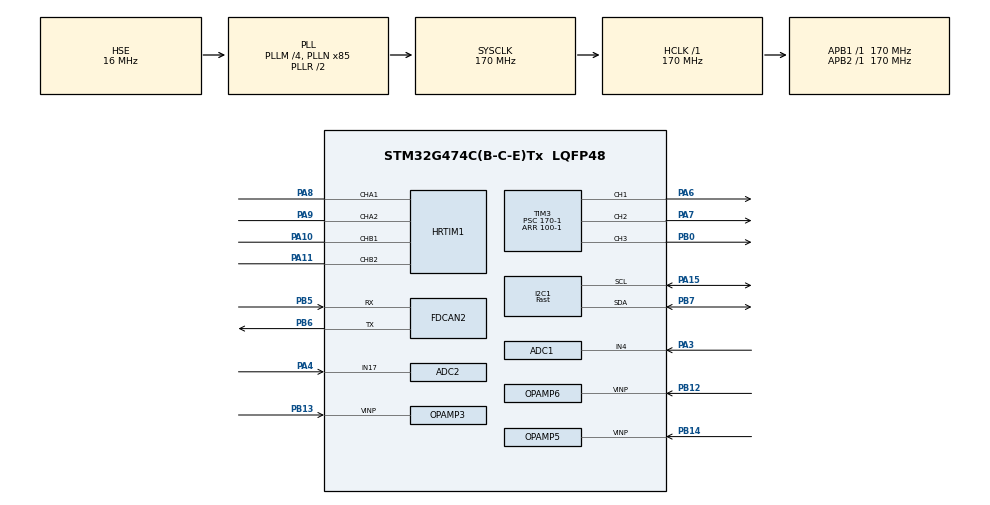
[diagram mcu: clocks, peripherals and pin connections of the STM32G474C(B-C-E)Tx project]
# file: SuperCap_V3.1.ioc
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ADC1.Channel-0\#ChannelRegularConversion=ADC_CHANNEL_4
ADC1.DMAContinuousRequests=ENABLE
ADC1.EOCSelection=ADC_EOC_SINGLE_CONV
ADC1.ExternalTrigConv=ADC_EXTERNALTRIG_HRTIM_TRG1
ADC1.LowPowerAutoWait=DISABLE
ADC1.NbrOfConversionFlag=1
ADC1.OffsetNumber-0\#ChannelRegularConversion=ADC_OFFSET_NONE
ADC1.OversamplingMode=ENABLE
ADC1.OversamplingStopReset=ADC_REGOVERSAMPLING_RESUMED_MODE
ADC1.Rank-0\#ChannelRegularConversion=1
ADC1.Ratio=ADC_OVERSAMPLING_RATIO_16
ADC1.RightBitShift=ADC_RIGHTBITSHIFT_4
ADC1.SamplingTime-0\#ChannelRegularConversion=ADC_SAMPLETIME_6CYCLES_5
ADC1.TriggeredMode=ADC_TRIGGEREDMODE_MULTI_TRIGGER
ADC1.master=1
ADC2.Channel-0\#ChannelRegularConversion=ADC_CHANNEL_17
ADC2.DMAContinuousRequests=ENABLE
ADC2.ExternalTrigConv=ADC_EXTERNALTRIG_HRTIM_TRG1
ADC2.NbrOfConversion=1
ADC2.NbrOfConversionFlag=1
ADC2.OffsetNumber-0\#ChannelRegularConversion=ADC_OFFSET_NONE
ADC2.OversamplingMode=ENABLE
ADC2.OversamplingStopReset=ADC_REGOVERSAMPLING_RESUMED_MODE
ADC2.Rank-0\#ChannelRegularConversion=1
ADC2.Ratio=ADC_OVERSAMPLING_RATIO_16
ADC2.RightBitShift=ADC_RIGHTBITSHIFT_4
ADC2.SamplingTime-0\#ChannelRegularConversion=ADC_SAMPLETIME_6CYCLES_5
ADC2.TriggeredMode=ADC_TRIGGEREDMODE_MULTI_TRIGGER
ADC3.Channel-1\#ChannelRegularConversion=ADC_CHANNEL_VOPAMP3_ADC3
ADC3.DMAContinuousRequests=ENABLE
ADC3.ExternalTrigConv=ADC_EXTERNALTRIG_HRTIM_TRG1
ADC3.NbrOfConversionFlag=1
ADC3.OffsetNumber-1\#ChannelRegularConversion=ADC_OFFSET_NONE
ADC3.OversamplingMode=ENABLE
ADC3.OversamplingStopReset=ADC_REGOVERSAMPLING_RESUMED_MODE
ADC3.Rank-1\#ChannelRegularConversion=1
ADC3.Ratio=ADC_OVERSAMPLING_RATIO_16
ADC3.RightBitShift=ADC_RIGHTBITSHIFT_4
ADC3.SamplingTime-1\#ChannelRegularConversion=ADC_SAMPLETIME_6CYCLES_5
ADC3.TriggeredMode=ADC_TRIGGEREDMODE_MULTI_TRIGGER
ADC3.master=1
ADC4.Channel-0\#ChannelRegularConversion=ADC_CHANNEL_VOPAMP6
ADC4.DMAContinuousRequests=ENABLE
ADC4.ExternalTrigConv=ADC_EXTERNALTRIG_HRTIM_TRG1
ADC4.NbrOfConversionFlag=1
ADC4.OffsetNumber-0\#ChannelRegularConversion=ADC_OFFSET_NONE
ADC4.OversamplingMode=ENABLE
ADC4.OversamplingStopReset=ADC_REGOVERSAMPLING_RESUMED_MODE
ADC4.Rank-0\#ChannelRegularConversion=1
ADC4.Ratio=ADC_OVERSAMPLING_RATIO_16
ADC4.RightBitShift=ADC_RIGHTBITSHIFT_4
ADC4.SamplingTime-0\#ChannelRegularConversion=ADC_SAMPLETIME_6CYCLES_5
ADC4.TriggeredMode=ADC_TRIGGEREDMODE_MULTI_TRIGGER
ADC5.Channel-0\#ChannelRegularConversion=ADC_CHANNEL_VOPAMP5
ADC5.DMAContinuousRequests=ENABLE
ADC5.ExternalTrigConv=ADC_EXTERNALTRIG_HRTIM_TRG1
ADC5.NbrOfConversionFlag=1
ADC5.OffsetNumber-0\#ChannelRegularConversion=ADC_OFFSET_NONE
ADC5.OversamplingMode=ENABLE
ADC5.OversamplingStopReset=ADC_REGOVERSAMPLING_RESUMED_MODE
ADC5.Rank-0\#ChannelRegularConversion=1
ADC5.Ratio=ADC_OVERSAMPLING_RATIO_16
ADC5.RightBitShift=ADC_RIGHTBITSHIFT_4
ADC5.SamplingTime-0\#ChannelRegularConversion=ADC_SAMPLETIME_6CYCLES_5
ADC5.TriggeredMode=ADC_TRIGGEREDMODE_MULTI_TRIGGER
Dma.ADC1.0.Direction=DMA_PERIPH_TO_MEMORY
Dma.ADC1.0.EventEnable=DISABLE
Dma.ADC1.0.Instance=DMA1_Channel1
Dma.ADC1.0.MemDataAlignment=DMA_MDATAALIGN_HALFWORD
Dma.ADC1.0.MemInc=DMA_MINC_ENABLE
Dma.ADC1.0.Mode=DMA_CIRCULAR
Dma.ADC1.0.PeriphDataAlignment=DMA_PDATAALIGN_HALFWORD
Dma.ADC1.0.PeriphInc=DMA_PINC_DISABLE
Dma.ADC1.0.Polarity=HAL_DMAMUX_REQ_GEN_RISING
Dma.ADC1.0.Priority=DMA_PRIORITY_HIGH
Dma.ADC1.0.RequestNumber=1
Dma.ADC1.0.SignalID=NONE
Dma.ADC1.0.SyncEnable=DISABLE
Dma.ADC1.0.SyncPolarity=HAL_DMAMUX_SYNC_NO_EVENT
Dma.ADC1.0.SyncRequestNumber=1
Dma.ADC1.0.SyncSignalID=NONE
Dma.ADC2.1.Direction=DMA_PERIPH_TO_MEMORY
Dma.ADC2.1.EventEnable=DISABLE
Dma.ADC2.1.Instance=DMA1_Channel2
Dma.ADC2.1.MemDataAlignment=DMA_MDATAALIGN_HALFWORD
Dma.ADC2.1.MemInc=DMA_MINC_ENABLE
Dma.ADC2.1.Mode=DMA_CIRCULAR
Dma.ADC2.1.PeriphDataAlignment=DMA_PDATAALIGN_HALFWORD
Dma.ADC2.1.PeriphInc=DMA_PINC_DISABLE
Dma.ADC2.1.Polarity=HAL_DMAMUX_REQ_GEN_RISING
Dma.ADC2.1.Priority=DMA_PRIORITY_HIGH
Dma.ADC2.1.RequestNumber=1
Dma.ADC2.1.SignalID=NONE
Dma.ADC2.1.SyncEnable=DISABLE
Dma.ADC2.1.SyncPolarity=HAL_DMAMUX_SYNC_NO_EVENT
Dma.ADC2.1.SyncRequestNumber=1
Dma.ADC2.1.SyncSignalID=NONE
Dma.ADC3.2.Direction=DMA_PERIPH_TO_MEMORY
Dma.ADC3.2.EventEnable=DISABLE
Dma.ADC3.2.Instance=DMA1_Channel3
Dma.ADC3.2.MemDataAlignment=DMA_MDATAALIGN_HALFWORD
Dma.ADC3.2.MemInc=DMA_MINC_ENABLE
Dma.ADC3.2.Mode=DMA_CIRCULAR
Dma.ADC3.2.PeriphDataAlignment=DMA_PDATAALIGN_HALFWORD
Dma.ADC3.2.PeriphInc=DMA_PINC_DISABLE
Dma.ADC3.2.Polarity=HAL_DMAMUX_REQ_GEN_RISING
Dma.ADC3.2.Priority=DMA_PRIORITY_HIGH
Dma.ADC3.2.RequestNumber=1
Dma.ADC3.2.SignalID=NONE
Dma.ADC3.2.SyncEnable=DISABLE
Dma.ADC3.2.SyncPolarity=HAL_DMAMUX_SYNC_NO_EVENT
Dma.ADC3.2.SyncRequestNumber=1
Dma.ADC3.2.SyncSignalID=NONE
Dma.ADC4.3.Direction=DMA_PERIPH_TO_MEMORY
Dma.ADC4.3.EventEnable=DISABLE
Dma.ADC4.3.Instance=DMA1_Channel4
Dma.ADC4.3.MemDataAlignment=DMA_MDATAALIGN_HALFWORD
Dma.ADC4.3.MemInc=DMA_MINC_ENABLE
Dma.ADC4.3.Mode=DMA_CIRCULAR
Dma.ADC4.3.PeriphDataAlignment=DMA_PDATAALIGN_HALFWORD
Dma.ADC4.3.PeriphInc=DMA_PINC_DISABLE
Dma.ADC4.3.Polarity=HAL_DMAMUX_REQ_GEN_RISING
Dma.ADC4.3.Priority=DMA_PRIORITY_HIGH
Dma.ADC4.3.RequestNumber=1
Dma.ADC4.3.SignalID=NONE
Dma.ADC4.3.SyncEnable=DISABLE
Dma.ADC4.3.SyncPolarity=HAL_DMAMUX_SYNC_NO_EVENT
Dma.ADC4.3.SyncRequestNumber=1
Dma.ADC4.3.SyncSignalID=NONE
Dma.ADC5.4.Direction=DMA_PERIPH_TO_MEMORY
Dma.ADC5.4.EventEnable=DISABLE
Dma.ADC5.4.Instance=DMA1_Channel5
Dma.ADC5.4.MemDataAlignment=DMA_MDATAALIGN_HALFWORD
Dma.ADC5.4.MemInc=DMA_MINC_ENABLE
Dma.ADC5.4.Mode=DMA_CIRCULAR
Dma.ADC5.4.PeriphDataAlignment=DMA_PDATAALIGN_HALFWORD
Dma.ADC5.4.PeriphInc=DMA_PINC_DISABLE
Dma.ADC5.4.Polarity=HAL_DMAMUX_REQ_GEN_RISING
Dma.ADC5.4.Priority=DMA_PRIORITY_HIGH
Dma.ADC5.4.RequestNumber=1
Dma.ADC5.4.SignalID=NONE
Dma.ADC5.4.SyncEnable=DISABLE
Dma.ADC5.4.SyncPolarity=HAL_DMAMUX_SYNC_NO_EVENT
Dma.ADC5.4.SyncRequestNumber=1
Dma.ADC5.4.SyncSignalID=NONE
Dma.Request0=ADC1
Dma.Request1=ADC2
Dma.Request2=ADC3
Dma.Request3=ADC4
Dma.Request4=ADC5
FDCAN2.AutoRetransmission=ENABLE
FDCAN2.CalculateBaudRateNominal=1000000
FDCAN2.CalculateTimeBitNominal=1000
FDCAN2.CalculateTimeQuantumNominal=100.0
FDCAN2.DataPrescaler=17
FDCAN2.DataSyncJumpWidth=4
FDCAN2.DataTimeSeg1=5
FDCAN2.DataTimeSeg2=4
FDCAN2.ExtFiltersNbr=8
FDCAN2.NominalPrescaler=17
FDCAN2.NominalSyncJumpWidth=4
FDCAN2.NominalTimeSeg1=5
FDCAN2.NominalTimeSeg2=4
FDCAN2.StdFiltersNbr=28
FDCAN2.TransmitPause=ENABLE
HRTIM1.ADCTrigger1_Source1=HRTIM_ADCTRIGGEREVENT13_MASTER_CMP1
HRTIM1.ADCTrigger_Id1=HRTIM_ADCTRIGGER_1
HRTIM1.CaptureUnit1-Output_TA1TA2=__NULL
HRTIM1.CompareUnit1-MasterTimer=HRTIM_COMPAREUNIT_1
HRTIM1.CompareUnit1-Output_TA1TA2=HRTIM_COMPAREUNIT_1
HRTIM1.CompareUnit1-Output_TB1TB2=HRTIM_COMPAREUNIT_1
HRTIM1.CompareUnit2-Output_TA1TA2=__NULL
HRTIM1.CompareUnit2-Output_TB1TB2=__NULL
HRTIM1.CompareUnit3-Output_TA1TA2=HRTIM_COMPAREUNIT_3
HRTIM1.CompareUnit3-Output_TB1TB2=HRTIM_COMPAREUNIT_3
HRTIM1.CompareUnit4-Output_TA1TA2=__NULL
HRTIM1.CompareValue1-MasterTimer=17000
HRTIM1.CompareValue1-Output_TA1TA2=17000
HRTIM1.CompareValue1-Output_TB1TB2=17000
HRTIM1.CompareValue3-Output_TA1TA2=17000
HRTIM1.CompareValue3-Output_TB1TB2=17000
HRTIM1.Configuration_TA=Waveform
HRTIM1.DeadTimeInsertion-Output_TA1TA2=HRTIM_TIMDEADTIMEINSERTION_ENABLED
HRTIM1.DeadTimeInsertion-Output_TB1TB2=HRTIM_TIMDEADTIMEINSERTION_ENABLED
HRTIM1.Event_EEV1=__NULL
HRTIM1.FallingValue-Output_TA1TA2=1
HRTIM1.FallingValue-Output_TB1TB2=1
HRTIM1.FaultLevel1-Output_TA1TA2=HRTIM_OUTPUTFAULTLEVEL_INACTIVE
HRTIM1.FaultLevel1-Output_TB1TB2=HRTIM_OUTPUTFAULTLEVEL_INACTIVE
HRTIM1.FaultLevel2-Output_TA1TA2=HRTIM_OUTPUTFAULTLEVEL_INACTIVE
HRTIM1.FaultLevel2-Output_TB1TB2=HRTIM_OUTPUTFAULTLEVEL_INACTIVE
HRTIM1.GreaterCMP1_TA=HRTIM_TIMERGTCMP1_EQUAL
HRTIM1.NumberADCTriggerSource1=1
HRTIM1.NumberFaultEnable-Output_TB1TB2=0
HRTIM1.NumberResetSource1-Output_TA1TA2=1
HRTIM1.NumberResetSource1-Output_TB1TB2=1
HRTIM1.NumberResetTrigger-Output_TA1TA2=1
HRTIM1.NumberResetTrigger-Output_TB1TB2=1
HRTIM1.NumberSetSource1-Output_TA1TA2=1
HRTIM1.NumberSetSource1-Output_TB1TB2=1
HRTIM1.NumberUpdateTrigger-Output_TA1TA2=0
HRTIM1.NumberUpdateTrigger-Output_TB1TB2=0
HRTIM1.ORingUpdateSource_ADCTrigger1=HRTIM_ADCTRIGGERUPDATE_MASTER
HRTIM1.Periode_MASTER=34000
HRTIM1.Periode_TA=34000
HRTIM1.Periode_TB=34000
HRTIM1.PreloadEnable-MasterTimer=HRTIM_PRELOAD_ENABLED
HRTIM1.PreloadEnable-Output_TA1TA2=HRTIM_PRELOAD_ENABLED
HRTIM1.PreloadEnable-Output_TB1TB2=HRTIM_PRELOAD_ENABLED
HRTIM1.ReSyncUpdate-Output_TA1TA2=HRTIM_TIMERESYNC_UPDATE_CONDITIONAL
HRTIM1.ReSyncUpdate-Output_TB1TB2=HRTIM_TIMERESYNC_UPDATE_CONDITIONAL
HRTIM1.RepetitionUpdate-MasterTimer=HRTIM_UPDATEONREPETITION_ENABLED
HRTIM1.RepetitionUpdate-Output_TA1TA2=HRTIM_UPDATEONREPETITION_ENABLED
HRTIM1.RepetitionUpdate-Output_TB1TB2=HRTIM_UPDATEONREPETITION_ENABLED
HRTIM1.ResetOutput1_Source1-Output_TA1TA2=HRTIM_OUTPUTRESET_TIMCMP3
HRTIM1.ResetOutput1_Source1-Output_TB1TB2=HRTIM_OUTPUTRESET_TIMCMP3
HRTIM1.ResetTrigger1-Output_TA1TA2=HRTIM_TIMRESETTRIGGER_MASTER_PER
HRTIM1.ResetTrigger1-Output_TB1TB2=HRTIM_TIMRESETTRIGGER_MASTER_PER
HRTIM1.ResetUpdate-Output_TA1TA2=HRTIM_TIMUPDATEONRESET_DISABLED
HRTIM1.ResetUpdate-Output_TB1TB2=HRTIM_TIMUPDATEONRESET_DISABLED
HRTIM1.RisingValue-Output_TA1TA2=1
HRTIM1.RisingValue-Output_TB1TB2=1
HRTIM1.SetOutput1_Source1-Output_TA1TA2=HRTIM_OUTPUTSET_TIMCMP1
HRTIM1.SetOutput1_Source1-Output_TB1TB2=HRTIM_OUTPUTSET_TIMCMP1
HRTIM1.StartOnSync-MasterTimer=HRTIM_SYNCSTART_ENABLED
HRTIM1.StartOnSync-Output_TA1TA2=HRTIM_SYNCSTART_ENABLED
HRTIM1.SyncInputSource=HRTIM_SYNCINPUTSOURCE_INTERNALEVENT
HRTIM1.SyncOptions=HRTIM_SYNCOPTION_SLAVE|HRTIM_SYNCOPTION_MASTER
HRTIM1.SyncOutputPolarity=HRTIM_SYNCOUTPUTPOLARITY_POSITIVE
HRTIM1.postscaler1=0
I2C1.I2C_Speed_Mode=I2C_Fast
I2C1.Timing=0x40621236
Mcu.Family=STM32G4
Mcu.Name=STM32G474C(B-C-E)Tx
Mcu.Package=LQFP48
NVIC.DMA1_Channel1_IRQn=true\:0\:0\:false\:false\:true\:false\:true\:true
NVIC.DMA1_Channel2_IRQn=true\:0\:0\:false\:false\:true\:false\:true\:true
NVIC.DMA1_Channel3_IRQn=true\:0\:0\:false\:false\:true\:false\:true\:true
NVIC.DMA1_Channel4_IRQn=true\:0\:0\:false\:false\:true\:false\:true\:true
NVIC.DMA1_Channel5_IRQn=true\:0\:0\:false\:false\:true\:false\:true\:true
NVIC.FDCAN2_IT0_IRQn=true\:2\:0\:true\:false\:true\:true\:true\:true
NVIC.PriorityGroup=NVIC_PRIORITYGROUP_3
NVIC.TIM1_UP_TIM16_IRQn=true\:0\:0\:false\:false\:true\:true\:true\:true
NVIC.TIM4_IRQn=true\:1\:1\:true\:false\:true\:true\:true\:true
NVIC.TIM6_DAC_IRQn=true\:7\:0\:true\:false\:true\:true\:true\:true
PA10.Mode=Output_TB1TB2
PA10.Signal=HRTIM1_CHB1
PA11.Mode=Output_TB1TB2
PA11.Signal=HRTIM1_CHB2
PA13.Mode=Serial_Wire
PA13.Signal=SYS_JTMS-SWDIO
PA14.Mode=Serial_Wire
PA14.Signal=SYS_JTCK-SWCLK
PA15.Mode=I2C
PA15.Signal=I2C1_SCL
PA3.Mode=IN4-Single-Ended
PA3.Signal=ADC1_IN4
PA4.Mode=IN17-Single-Ended
PA4.Signal=ADC2_IN17
PA6.Signal=S_TIM3_CH1
PA7.Signal=S_TIM3_CH2
PA8.Mode=Output_TA1TA2
PA8.Signal=HRTIM1_CHA1
PA9.Mode=Output_TA1TA2
PA9.Signal=HRTIM1_CHA2
PB0.Signal=S_TIM3_CH3
PB12.Mode=Follower_Internally_Connected
PB12.Signal=OPAMP6_VINP
PB13.Mode=Follower_Internally_Connected
PB13.Signal=OPAMP3_VINP
PB14.Mode=Follower_Internally_Connected
PB14.Signal=OPAMP5_VINP
PB5.Mode=FDCAN_Activate
PB5.Signal=FDCAN2_RX
PB6.Mode=FDCAN_Activate
PB6.Signal=FDCAN2_TX
PB7.Mode=I2C
PB7.Signal=I2C1_SDA
PF0-OSC_IN.Mode=HSE-External-Oscillator
PF0-OSC_IN.Signal=RCC_OSC_IN
PF1-OSC_OUT.Mode=HSE-External-Oscillator
PF1-OSC_OUT.Signal=RCC_OSC_OUT
ProjectManager.HeapSize=0x200
ProjectManager.StackSize=0x400
ProjectManager.TargetToolchain=MDK-ARM V5
RCC.ADC12Freq_Value=170000000
RCC.ADC345Freq_Value=170000000
RCC.AHBFreq_Value=170000000
RCC.APB1Freq_Value=170000000
RCC.APB1TimFreq_Value=170000000
RCC.APB2Freq_Value=170000000
RCC.APB2TimFreq_Value=170000000
RCC.CortexFreq_Value=170000000
RCC.EXTERNAL_CLOCK_VALUE=12288000
RCC.HCLKFreq_Value=170000000
RCC.HSE_VALUE=16000000
RCC.HSI48_VALUE=48000000
RCC.HSI_VALUE=16000000
RCC.LSE_VALUE=32768
RCC.PLLM=RCC_PLLM_DIV4
RCC.PLLN=85
RCC.PLLSourceVirtual=RCC_PLLSOURCE_HSE
RCC.SYSCLKFreq_VALUE=170000000
RCC.SYSCLKSource=RCC_SYSCLKSOURCE_PLLCLK
RCC.USBFreq_Value=170000000
RCC.VCOOutputFreq_Value=340000000
SH.S_TIM3_CH1.0=TIM3_CH1,PWM Generation1 CH1
SH.S_TIM3_CH2.0=TIM3_CH2,PWM Generation2 CH2
SH.S_TIM3_CH3.0=TIM3_CH3,PWM Generation3 CH3
TIM1.PeriodNoDither=100-1
TIM1.Prescaler=170-1
TIM1.TIM_MasterOutputTrigger=TIM_TRGO_ENABLE
TIM1.TIM_MasterSlaveMode=TIM_MASTERSLAVEMODE_DISABLE
TIM3.Channel-PWM\ Generation1\ CH1=TIM_CHANNEL_1
TIM3.Channel-PWM\ Generation2\ CH2=TIM_CHANNEL_2
TIM3.Channel-PWM\ Generation3\ CH3=TIM_CHANNEL_3
TIM3.PeriodNoDither=100-1
TIM3.Prescaler=170-1
TIM4.ClockDivision=TIM_CLOCKDIVISION_DIV1
TIM4.PeriodNoDither=1000-1
TIM4.Prescaler=170-1
TIM4.TIM_MasterSlaveMode=TIM_MASTERSLAVEMODE_DISABLE
TIM6.AutoReloadPreload=TIM_AUTORELOAD_PRELOAD_ENABLE
TIM6.PeriodNoDither=10000-1
TIM6.Prescaler=17000-1
VP_ADC3_OPAMP_INTERNAL3.Mode=IN-OPAMP3
VP_ADC4_OPAMP_INTERNAL6.Mode=IN-OPAMP6
VP_ADC5_OPAMP_INTERNAL5.Mode=IN-OPAMP5
VP_HRTIM1_VS_hrtimMasterTimerNoOutput.Mode=MasterTimer
VP_SYS_VS_DBSignals.Mode=DisableDeadBatterySignals
VP_TIM1_VS_ClockSourceINT.Mode=Internal
VP_TIM3_VS_ClockSourceINT.Mode=Internal
VP_TIM4_VS_ClockSourceINT.Mode=Internal
VP_TIM4_VS_ClockSourceITR.Mode=TriggerSource_ITR10
VP_TIM4_VS_ControllerModeTrigger.Mode=Trigger Mode
VP_TIM6_VS_ClockSourceINT.Mode=Enable_Timer
board=custom

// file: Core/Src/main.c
/* USER CODE BEGIN Header */
/**
  ******************************************************************************
  * @file           : main.c
  * @brief          : Main program body
  ******************************************************************************
  * @attention
  *
  * Copyright (c) 2024 STMicroelectronics.
  * All rights reserved.
  *
  * This software is licensed under terms that can be found in the LICENSE file
  * in the root directory of this software component.
  * If no LICENSE file comes with this software, it is provided AS-IS.
  *
  ******************************************************************************
  */
/* USER CODE END Header */
#include "main.h"
#include "adc.h"
#include "dma.h"
#include "fdcan.h"
#include "hrtim.h"
#include "i2c.h"
#include "opamp.h"
#include "tim.h"
#include "gpio.h"

/* USER CODE BEGIN Includes */
#include "bsp_dwt.h"
#include "power_calculation.h"
#include "OLED.h"
#include "LED.h"
#include "CAN_driver.h"
/* USER CODE END Includes */

/* USER CODE BEGIN PV */
uint32_t Debug[10];
float DealtT[10];
/* USER CODE END PV */

void SystemClock_Config(void);

int main(void)
{

  /* MCU Configuration--------------------------------------------------------*/

  /* Reset of all peripherals, Initializes the Flash interface and the Systick. */
  HAL_Init();

  /* Configure the system clock */
  SystemClock_Config();

  /* Initialize all configured peripherals */
  MX_GPIO_Init();
  MX_DMA_Init();
  MX_HRTIM1_Init();
  MX_I2C1_Init();
  MX_ADC1_Init();
  MX_ADC2_Init();
  MX_ADC3_Init();
  MX_ADC4_Init();
  MX_ADC5_Init();
  MX_FDCAN2_Init();
  MX_OPAMP3_Init();
  MX_OPAMP5_Init();
  MX_OPAMP6_Init();
  MX_TIM3_Init();
  MX_TIM4_Init();
  MX_TIM1_Init();
  MX_TIM6_Init();
  /* USER CODE BEGIN 2 */
	//LED初始化&亮红灯表示初始化化
	LED_init();
	LED_SetColor(RED_COLOR);

	//初始化DWT计时
	DWT_Init(170);

	//开启ADC校准
	HAL_ADCEx_Calibration_Start(&hadc1,ADC_SINGLE_ENDED);
	HAL_ADCEx_Calibration_Start(&hadc2,ADC_SINGLE_ENDED);
	HAL_ADCEx_Calibration_Start(&hadc3,ADC_SINGLE_ENDED);
	HAL_ADCEx_Calibration_Start(&hadc4,ADC_SINGLE_ENDED);
	HAL_ADCEx_Calibration_Start(&hadc5,ADC_SINGLE_ENDED);

	//内部运放初始化
	HAL_OPAMP_Start(&hopamp3);
	HAL_OPAMP_Start(&hopamp5);
	HAL_OPAMP_Start(&hopamp6);

	//使能ADC&DMA传输
	HAL_Delay(5);
	HAL_ADC_Start_DMA(&hadc1, (uint32_t *)&in_v.valu, 1);
	HAL_ADC_Start_DMA(&hadc2, (uint32_t *)&cap_v.valu, 1);
	HAL_ADC_Start_DMA(&hadc3, (uint32_t *)&out_c.valu, 1);
	HAL_ADC_Start_DMA(&hadc4, (uint32_t *)&in_c.valu, 1);
	HAL_ADC_Start_DMA(&hadc5, (uint32_t *)&cap_c.valu, 1);

	//OLED初始化
	//To do: OLED检测优化与热插拔支持
	OLED_Init();

	//FDCAN初始化
	FDCAN_FilterInit();
	FDCAN_start();

	//功率控制初始化
	DCDC_init();

	//使能PWM控制信号输出&控制终端定时器&错误检测定时器,时钟同步为TIM1->HRTIM->TIM4
	HAL_TIM_Base_Start_IT(&htim4);
	HAL_TIM_Base_Start_IT(&htim1);

  /* USER CODE END 2 */

  /* Infinite loop */
  while (1)
  {

    /* USER CODE BEGIN 3 */
		memset(OLED_GRAM, 0, sizeof(OLED_GRAM));
		OLED_printf(0, 0, "I1N");
		OLED_printf(20, 0, "%4.2f;%4.2f;%3.1f", in.U_now, in.I_now, in.P_now);
		OLED_printf(0, 12, "OUT");
		OLED_printf(20, 12, "%4.2f;%4.2f;%3.1f", out.U_now, out.I_now, out.P_now);
		OLED_printf(0, 24, "I2N");
		OLED_printf(20, 24, "%4.2f;%4.2f;%3.1f", dcdc_in.U_now, dcdc_in.I_now, dcdc_in.P_now);
		OLED_printf(0, 36, "CAP");
		OLED_printf(20, 36, "%4.2f;%4.2f;%3.1f", cap.U_now, cap.I_now, cap.P_now);

		OLED_printf(0, 48, "MODE");
		OLED_printf(26, 48, "%d", buckboost.loop_mode);

		#if DCDC_OUTPUT == 1
		OLED_printf(40, 48, "%3.2f", ratio_display);
		#elif DCDC_OUTPUT == 2
		OLED_printf(40, 48, "%3.2f;%3.2f", cloop_display,vloop_display);
		#elif DCDC_OUTPUT == 3
		OLED_printf(40, 48, "%3.2f", ratio_display);
		OLED_printf(80, 48, "%d", buckboost.max_power_lim);
		#endif
		OLED_Refresh_Gram(); //更新显示,cpuz占用极高必须优化降频

  }
  /* USER CODE END 3 */
}

void SystemClock_Config(void)
{
  RCC_OscInitTypeDef RCC_OscInitStruct = {0};
  RCC_ClkInitTypeDef RCC_ClkInitStruct = {0};

  /** Configure the main internal regulator output voltage
  */
  HAL_PWREx_ControlVoltageScaling(PWR_REGULATOR_VOLTAGE_SCALE1_BOOST);

  /** Initializes the RCC Oscillators according to the specified parameters
  * in the RCC_OscInitTypeDef structure.
  */
  RCC_OscInitStruct.OscillatorType = RCC_OSCILLATORTYPE_HSE;
  RCC_OscInitStruct.HSEState = RCC_HSE_ON;
  RCC_OscInitStruct.PLL.PLLState = RCC_PLL_ON;
  RCC_OscInitStruct.PLL.PLLSource = RCC_PLLSOURCE_HSE;
  RCC_OscInitStruct.PLL.PLLM = RCC_PLLM_DIV4;
  RCC_OscInitStruct.PLL.PLLN = 85;
  RCC_OscInitStruct.PLL.PLLP = RCC_PLLP_DIV2;
  RCC_OscInitStruct.PLL.PLLQ = RCC_PLLQ_DIV2;
  RCC_OscInitStruct.PLL.PLLR = RCC_PLLR_DIV2;
  if (HAL_RCC_OscConfig(&RCC_OscInitStruct) != HAL_OK)
  {
    Error_Handler();
  }

  /** Initializes the CPU, AHB and APB buses clocks
  */
  RCC_ClkInitStruct.ClockType = RCC_CLOCKTYPE_HCLK|RCC_CLOCKTYPE_SYSCLK
                              |RCC_CLOCKTYPE_PCLK1|RCC_CLOCKTYPE_PCLK2;
  RCC_ClkInitStruct.SYSCLKSource = RCC_SYSCLKSOURCE_PLLCLK;
  RCC_ClkInitStruct.AHBCLKDivider = RCC_SYSCLK_DIV1;
  RCC_ClkInitStruct.APB1CLKDivider = RCC_HCLK_DIV1;
  RCC_ClkInitStruct.APB2CLKDivider = RCC_HCLK_DIV1;

  if (HAL_RCC_ClockConfig(&RCC_ClkInitStruct, FLASH_LATENCY_4) != HAL_OK)
  {
    Error_Handler();
  }
}

void Error_Handler(void)
{
  __disable_irq();
  while (1)
  {
  }
}
